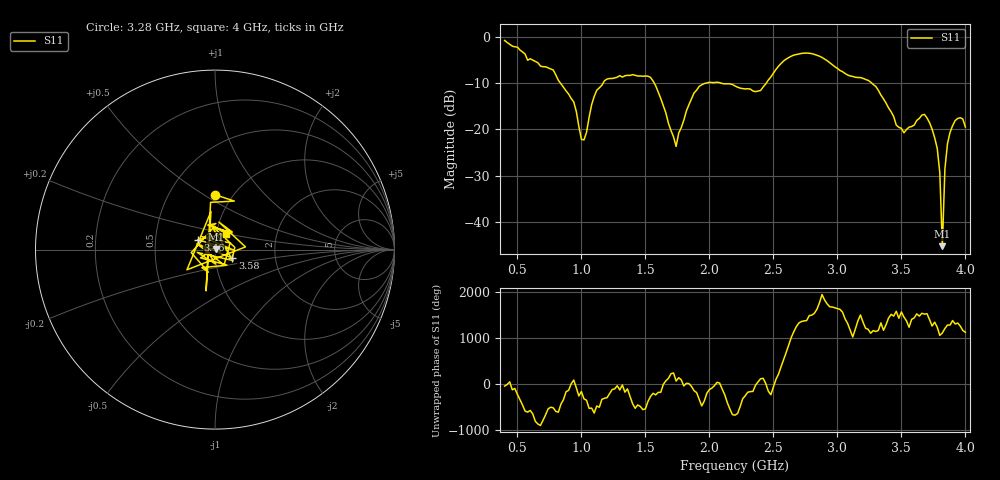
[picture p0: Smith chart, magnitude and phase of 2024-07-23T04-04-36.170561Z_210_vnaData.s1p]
!Created with skrf (http://scikit-rf.org).
# Hz S RI R 50.0
!freq ReS11 ImS11
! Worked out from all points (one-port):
!   181 points, 400 MHz to 4 GHz, reference 50 ohm
!   lowest |S11| = -45.3 dB at 3.82 GHz (marker M1), VSWR 1.01, Z = 50.4 + j0.343 ohm
!   |S11| at or under -10 dB: 1.569 GHz to 1.977 GHz (408.1 MHz wide, 23 % of centre); 2.091 GHz to 2.444 GHz (353.7 MHz wide, 15.6 % of centre); 3.269 GHz to end of sweep (the widest 3 of 4)
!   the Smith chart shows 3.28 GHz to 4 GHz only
!   S11 on the Smith chart (normalised r, x): 3.28 GHz: 0.83, +0.56; 3.46 GHz: 0.82, +0.09; 3.58 GHz: 1.21, -0.11; 4 GHz: 1.12, +0.19
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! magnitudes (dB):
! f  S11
! 400 MHz  -0.8
! 780 MHz  -7.2
! 860 MHz  -10.9
! 940 MHz  -14.1
! 1 GHz  -22.2
! 1.02 GHz  -22.3
! 1.12 GHz  -11.5
! 1.3 GHz  -8.4
! 1.54 GHz  -8.8
! 1.74 GHz  -23.7
! 1.76 GHz  -20.8
! 1.92 GHz  -10.7
! 2.2 GHz  -10.6
! 2.4 GHz  -11.6
! 2.66 GHz  -3.9
! 3.1 GHz  -8.5
! 3.28 GHz  -10.3
! 3.46 GHz  -19.1
! 3.56 GHz  -19.5
! 3.58 GHz  -19.4
! 3.68 GHz  -16.8
! 3.76 GHz  -21.8
! 3.8 GHz  -29.4
! 3.82 GHz  -45.3
! 3.84 GHz  -28.6
! 3.86 GHz  -23.1
! 3.92 GHz  -18.1
! 4 GHz  -19.5
